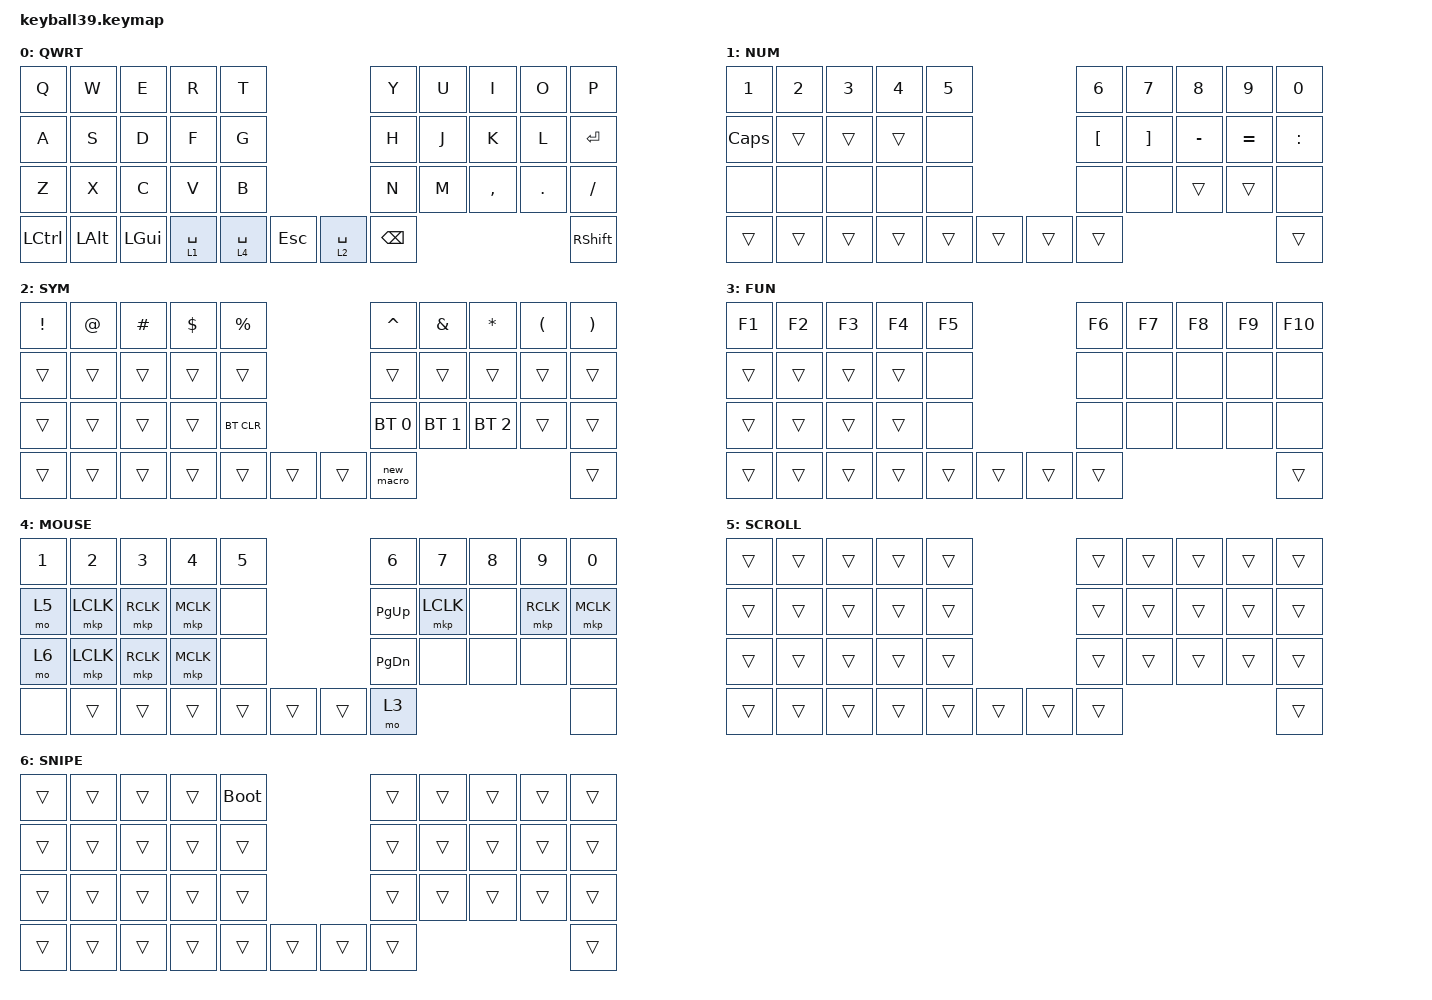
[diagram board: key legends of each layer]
#define DEFAULT 0
#define NUM     1
#define SYM     2
#define FUN     3
#define MOUSE   4
#define SCROLL  5
#define SNIPE   6

#include <behaviors/mouse_keys.dtsi>
#include <dt-bindings/zmk/mouse.h>
#include <behaviors.dtsi>
#include <dt-bindings/zmk/bt.h>
#include <dt-bindings/zmk/keys.h>
#include <dt-bindings/zmk/pointing.h>

&lt {
    tapping-term-ms = <240>;
    flavor = "balanced";
    quick-tap-ms = <150>;
};

&mt {
    tapping-term-ms = <200>;
    flavor = "tap-preferred";
    quick-tap-ms = <150>;
};

&caps_word { continue-list = <UNDERSCORE MINUS>; };

/ {
    // custom shift using mod-morph 

    behaviors {
        cmqus: comma_question {
            compatible = "zmk,behavior-mod-morph";
            label = "COMMA_QUESTION";
            #binding-cells = <0>;
            bindings = <&kp COMMA>, <&kp QUESTION>;

            mods = <(MOD_LSFT|MOD_RSFT)>;
        };

        dtsmi: dot_semi {
            compatible = "zmk,behavior-mod-morph";
            label = "DOT_SEMI";
            #binding-cells = <0>;
            bindings = <&kp DOT>, <&kp SEMI>;

            mods = <(MOD_LSFT|MOD_RSFT)>;
        };
    };

    macros {
        new_macro: new_macro {
            compatible = "zmk,behavior-macro";
            #binding-cells = <0>;
            bindings = <&kp N1 &kp N5 &kp N0 &kp N5 &kp N0 &kp N7>;
            label = "NEW_MACRO";
        };
    };

    combos {
        compatible = "zmk,combos";

        lctl {
            bindings = <&kp LCTRL>;
            key-positions = <11 12>;
            require-prior-idle-ms = <200>;
            timeout-ms = <120>;
        };

        lalt {
            bindings = <&kp LALT>;
            key-positions = <12 13>;
        };
    };

    keymap {
        compatible = "zmk,keymap";

        default_layer {
            label = "QWRT";
            bindings = <
&kp Q      &kp W     &kp E     &kp R        &kp T                              &kp Y          &kp U  &kp I      &kp O    &kp P
&kp A      &kp S     &kp D     &kp F        &kp G                              &kp H          &kp J  &kp K      &kp L    &kp ENTER
&kp Z      &kp X     &kp C     &kp V        &kp B                              &kp N          &kp M  &kp COMMA  &kp DOT  &kp SLASH
&kp LCTRL  &kp LALT  &kp LGUI  &lt 1 SPACE  &lt 4 SPACE  &kp ESC  &lt 2 SPACE  &kp BACKSPACE                             &kp RSHFT
            >;
        };

        number_layer {
            label = "NUM";
            bindings = <
&kp N1        &kp N2  &kp N3  &kp N4  &kp N5                  &kp N6    &kp N7    &kp N8     &kp N9     &kp N0
&kp CAPSLOCK  &trans  &trans  &trans  &none                   &kp LBKT  &kp RBKT  &kp MINUS  &kp EQUAL  &kp COLON
&none         &none   &none   &none   &none                   &none     &none     &trans     &trans     &none
&trans        &trans  &trans  &trans  &trans  &trans  &trans  &trans                                    &trans
            >;
        };

        symbol_layer {
            label = "SYM";
            bindings = <
&kp EXCLAMATION  &kp AT_SIGN  &kp HASH  &kp DOLLAR  &kp PERCENT                  &kp CARET     &kp AMPERSAND  &kp ASTERISK  &kp LEFT_PARENTHESIS  &kp RIGHT_PARENTHESIS
&trans           &trans       &trans    &trans      &trans                       &trans        &trans         &trans        &trans                &trans
&trans           &trans       &trans    &trans      &bt BT_CLR                   &bt BT_SEL 0  &bt BT_SEL 1   &bt BT_SEL 2  &trans                &trans
&trans           &trans       &trans    &trans      &trans       &trans  &trans  &new_macro                                                       &trans
            >;
        };

        function_layer {
            label = "FUN";
            bindings = <
&kp F1  &kp F2  &kp F3  &kp F4  &kp F5                  &kp F6  &kp F7  &kp F8  &kp F9  &kp F10
&trans  &trans  &trans  &trans  &none                   &none   &none   &none   &none   &none
&trans  &trans  &trans  &trans  &none                   &none   &none   &none   &none   &none
&trans  &trans  &trans  &trans  &trans  &trans  &trans  &trans                          &trans
            >;
        };

        mouse_layer {
            label = "MOUSE";
            bindings = <
&kp N1  &kp N2     &kp N3     &kp N4     &kp N5                  &kp N6         &kp N7     &kp N8  &kp N9     &kp N0
&mo 5   &mkp LCLK  &mkp RCLK  &mkp MCLK  &none                   &kp PAGE_UP    &mkp LCLK  &none   &mkp RCLK  &mkp MCLK
&mo 6   &mkp LCLK  &mkp RCLK  &mkp MCLK  &none                   &kp PAGE_DOWN  &none      &none   &none      &none
&none   &trans     &trans     &trans     &trans  &trans  &trans  &mo 3                                        &none
            >;
        };

        scroll_layer {
            label = "SCROLL";
            bindings = <
&trans  &trans  &trans  &trans  &trans                  &trans  &trans  &trans  &trans  &trans
&trans  &trans  &trans  &trans  &trans                  &trans  &trans  &trans  &trans  &trans
&trans  &trans  &trans  &trans  &trans                  &trans  &trans  &trans  &trans  &trans
&trans  &trans  &trans  &trans  &trans  &trans  &trans  &trans                          &trans
            >;
        };

        snipe_layer {
            label = "SNIPE";
            bindings = <
&trans  &trans  &trans  &trans  &bootloader                  &trans  &trans  &trans  &trans  &trans
&trans  &trans  &trans  &trans  &trans                       &trans  &trans  &trans  &trans  &trans
&trans  &trans  &trans  &trans  &trans                       &trans  &trans  &trans  &trans  &trans
&trans  &trans  &trans  &trans  &trans       &trans  &trans  &trans                          &trans
            >;
        };
    };
};
